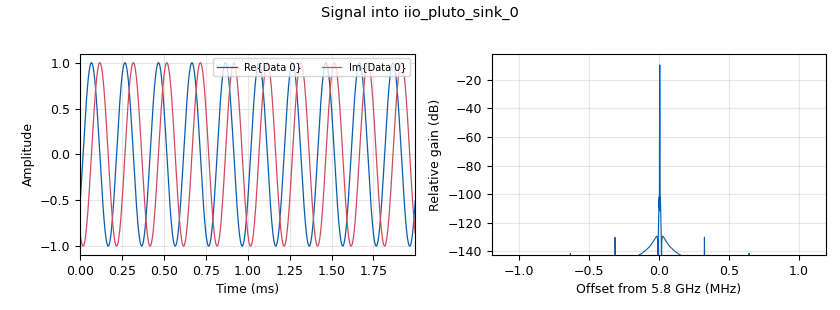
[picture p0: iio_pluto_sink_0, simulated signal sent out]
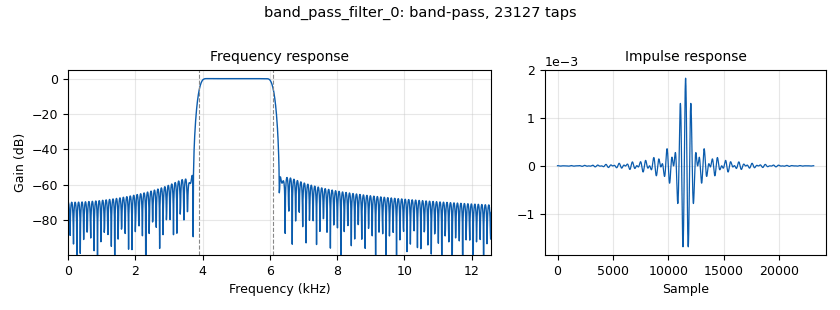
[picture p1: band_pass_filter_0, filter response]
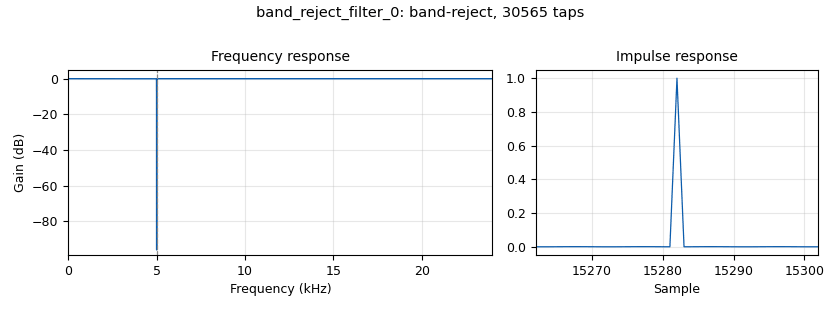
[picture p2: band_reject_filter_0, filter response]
options:
  parameters:
    generate_options: qt_gui
    id: NOBORRAR
    output_language: python
    title: DOPPLER RADAR
  states: {}

blocks:
- name: audio_gain
  id: variable_qtgui_range
  parameters:
    start: '0'
    step: '1'
    stop: '100'
    value: '50'
  states: {}
- name: center_freq
  id: variable_qtgui_range
  parameters:
    start: 3e3
    step: '1'
    stop: 20e3
    value: 5e3
  states: {}
- name: fft_size
  id: variable
  parameters:
    value: '8192'
  states: {}
- name: low_freq
  id: variable
  parameters:
    value: '5800000000'
  states: {}
- name: max_doppler
  id: variable
  parameters:
    value: '1100'
  states: {}
- name: rx_gain
  id: variable_qtgui_range
  parameters:
    start: '0'
    step: '1'
    stop: '70'
    value: '50'
  states: {}
- name: samp_rate
  id: variable
  parameters:
    value: '2400000'
  states: {}
- name: threshold
  id: variable_qtgui_range
  parameters:
    start: '-120'
    step: '1'
    stop: '-50'
    value: '-80'
  states: {}
- name: tx_attenuation
  id: variable_qtgui_range
  parameters:
    start: '0'
    step: '1'
    stop: '100'
    value: '65'
  states: {}
- name: analog_const_source_x_0
  id: analog_const_source_x
  parameters:
    const: 48000/fft_size
    type: float
  states: {}
- name: analog_const_source_x_1
  id: analog_const_source_x
  parameters:
    const: '-1*center_freq'
    type: float
  states: {}
- name: analog_const_source_x_2
  id: analog_const_source_x
  parameters:
    const: 3e8/(2*low_freq)
    type: float
  states: {}
- name: analog_sig_source_x_0
  id: analog_sig_source_x
  parameters:
    amp: '1'
    freq: center_freq
    offset: '0'
    phase: '0'
    samp_rate: samp_rate
    type: complex
    waveform: analog.GR_COS_WAVE
  states: {}
- name: audio_sink_0
  id: audio_sink
  parameters:
    samp_rate: '48000'
  states: {}
- name: band_pass_filter_0
  id: band_pass_filter
  parameters:
    decim: '50'
    gain: '1'
    high_cutoff_freq: center_freq+max_doppler
    low_cutoff_freq: center_freq-max_doppler
    samp_rate: samp_rate
    type: fir_filter_ccf
    width: '250'
    win: window.WIN_HAMMING
  states: {}
- name: band_reject_filter_0
  id: band_reject_filter
  parameters:
    beta: '6.76'
    decim: '1'
    gain: '1'
    high_cutoff_freq: center_freq+5
    low_cutoff_freq: center_freq-5
    samp_rate: samp_rate/50
    type: fir_filter_ccf
    width: '5'
    win: window.WIN_KAISER
  states: {}
- name: blocks_add_xx_0
  id: blocks_add_xx
  parameters:
    type: float
  states: {}
- name: blocks_argmax_xx_0
  id: blocks_argmax_xx
  parameters:
    num_inputs: '1'
    type: float
    vlen: fft_size
  states: {}
- name: blocks_complex_to_real_0
  id: blocks_complex_to_real
  parameters: {}
  states: {}
- name: blocks_max_xx_0
  id: blocks_max_xx
  parameters:
    type: float
    vlen: '8192'
    vlen_out: '1'
  states: {}
- name: blocks_multiply_const_vxx_0
  id: blocks_multiply_const_vxx
  parameters:
    const: audio_gain
    type: complex
  states: {}
- name: blocks_multiply_xx_0
  id: blocks_multiply_xx
  parameters:
    type: float
  states: {}
- name: blocks_multiply_xx_1
  id: blocks_multiply_xx
  parameters:
    type: float
  states: {}
- name: blocks_multiply_xx_2
  id: blocks_multiply_xx
  parameters:
    type: float
  states: {}
- name: blocks_null_sink_0
  id: blocks_null_sink
  parameters:
    type: short
  states: {}
- name: blocks_short_to_float_0
  id: blocks_short_to_float
  parameters:
    scale: '1'
  states: {}
- name: blocks_threshold_ff_0
  id: blocks_threshold_ff
  parameters:
    high: threshold
    init: '0'
    low: threshold
  states: {}
- name: iio_pluto_sink_0
  id: iio_pluto_sink
  parameters:
    attenuation1: tx_attenuation
    bandwidth: '20000000'
    buffer_size: '32768'
    cyclic: 'False'
    filter_source: '''Auto'''
    frequency: low_freq
    samplerate: samp_rate
    type: fc32
    uri: 192.168.2.1
  states: {}
- name: iio_pluto_source_0
  id: iio_pluto_source
  parameters:
    bandwidth: '20000000'
    bbdc: 'True'
    buffer_size: '32768'
    filter_source: '''Auto'''
    frequency: low_freq
    gain1: '''manual'''
    manual_gain1: rx_gain
    quadrature: 'True'
    rfdc: 'True'
    samplerate: samp_rate
    type: fc32
    uri: 192.168.2.1
  states: {}
- name: logpwrfft_x_0
  id: logpwrfft_x
  parameters:
    average: 'True'
    avg_alpha: '1.0'
    fft_size: fft_size
    frame_rate: '30'
    ref_scale: '2'
    sample_rate: samp_rate/50
    shift: 'False'
    type: complex
  states: {}
- name: qtgui_freq_sink_x_0
  id: qtgui_freq_sink_x
  parameters:
    bw: samp_rate/50
    fc: '0'
    fftsize: fft_size
    name: Frequency Spectrum of Band Rejected Filter Output
    type: complex
  states: {}
- name: qtgui_number_sink_0
  id: qtgui_number_sink
  parameters:
    autoscale: 'True'
    graph_type: qtgui.NUM_GRAPH_HORIZ
    name: Speed in m/s
    type: float
  states: {}
- name: qtgui_waterfall_sink_x_0
  id: qtgui_waterfall_sink_x
  parameters:
    bw: samp_rate/50
    fc: '0'
    fftsize: '32768'
    type: complex
  states: {}

connections:
- [analog_const_source_x_0, '0', blocks_multiply_xx_0, '0']
- [analog_const_source_x_1, '0', blocks_add_xx_0, '0']
- [analog_const_source_x_2, '0', blocks_multiply_xx_1, '0']
- [analog_sig_source_x_0, '0', iio_pluto_sink_0, '0']
- [band_pass_filter_0, '0', band_reject_filter_0, '0']
- [band_reject_filter_0, '0', blocks_multiply_const_vxx_0, '0']
- [band_reject_filter_0, '0', logpwrfft_x_0, '0']
- [band_reject_filter_0, '0', qtgui_freq_sink_x_0, '0']
- [band_reject_filter_0, '0', qtgui_waterfall_sink_x_0, '0']
- [blocks_add_xx_0, '0', blocks_multiply_xx_1, '1']
- [blocks_argmax_xx_0, '0', blocks_short_to_float_0, '0']
- [blocks_argmax_xx_0, '1', blocks_null_sink_0, '0']
- [blocks_complex_to_real_0, '0', audio_sink_0, '0']
- [blocks_max_xx_0, '0', blocks_threshold_ff_0, '0']
- [blocks_multiply_const_vxx_0, '0', blocks_complex_to_real_0, '0']
- [blocks_multiply_xx_0, '0', blocks_add_xx_0, '1']
- [blocks_multiply_xx_1, '0', blocks_multiply_xx_2, '0']
- [blocks_multiply_xx_2, '0', qtgui_number_sink_0, '0']
- [blocks_short_to_float_0, '0', blocks_multiply_xx_0, '1']
- [blocks_threshold_ff_0, '0', blocks_multiply_xx_2, '1']
- [iio_pluto_source_0, '0', band_pass_filter_0, '0']
- [logpwrfft_x_0, '0', blocks_argmax_xx_0, '0']
- [logpwrfft_x_0, '0', blocks_max_xx_0, '0']

metadata:
  file_format: 1
  grc_version: 3.10.7.0
